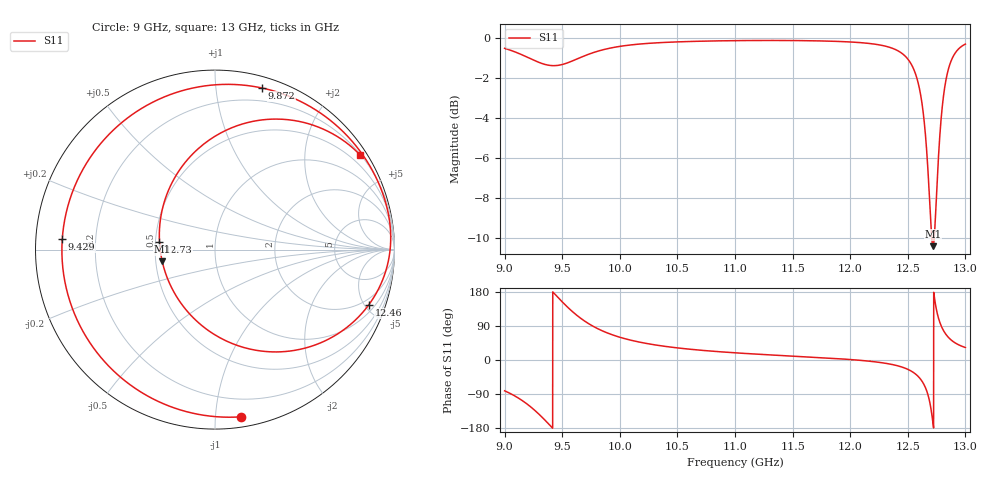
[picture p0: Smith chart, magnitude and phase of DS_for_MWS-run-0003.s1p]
! TOUCHSTONE file generated by CST DESIGN STUDIO
! Date and time: Tue Feb  4 13:24:47 2025
! Project name: C:\Work\MatlabApps\UnitCellOptimizationMatlab\CST\unitcell.cst
! Tree item: Tasks\Sweep1\SPara1\S-Parameters
! Header version: 2024
! Port assignment regex: !\s*Touchstone port\s*([0-9]+)\s*=\s*(CST MWS port|CST DES external port|CST DES block port)\s*(.+)\s* \(\"(.*)\"\)(\s*mode\s*([0-9]+))?.*
! Touchstone port assignment:
! Touchstone port 1 = CST DES external port 1 ("")
# GHz S MA R 50
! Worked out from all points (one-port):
!   4001 points, 9 GHz to 13 GHz, reference 50 ohm
!   lowest |S11| = -10.4 dB at 12.72 GHz (marker M1), VSWR 1.86, Z = 27.1 - j3.91 ohm
!   |S11| at or under -10 dB: 12.70811 GHz to 12.72937 GHz (21.26 MHz wide, 0.167 % of centre)
!   S11 on the Smith chart (normalised r, x): 9 GHz: 0.07, -1.16; 9.429 GHz: 0.08, +0.03; 9.872 GHz: 0.09, +1.33; 12.46 GHz: 1.49, -5.35; 12.73 GHz: 0.53, +0.05; 13 GHz: 0.22, +3.37
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9  0.9427 -81.3
9.123  0.9153 -101.1
9.223  0.8885 -122.8
9.338  0.8611 -154.8
9.429  0.853 176.2
9.5  0.8586 153.5
9.582  0.875 129.5
9.664  0.8954 109.3
9.756  0.9167 91.1
9.872  0.9376 73.8
10  0.9532 60.1
10.215  0.9684 44.6
10.5  0.9782 31.9
11  0.9852 19.0
11.5  0.9858 10.3
12  0.9778 1.3
12.275  0.9588 -7.2
12.46  0.9105 -19.7
12.5  0.8862 -24.6
12.581  0.7898 -40.7
12.645  0.6078 -67.5
12.682  0.4302 -99.6
12.719  0.3014 -167.4
12.728  0.3127 171.7
12.774  0.5477 103.0
12.816  0.738 74.6
12.895  0.9008 48.4
13  0.9659 33.0
